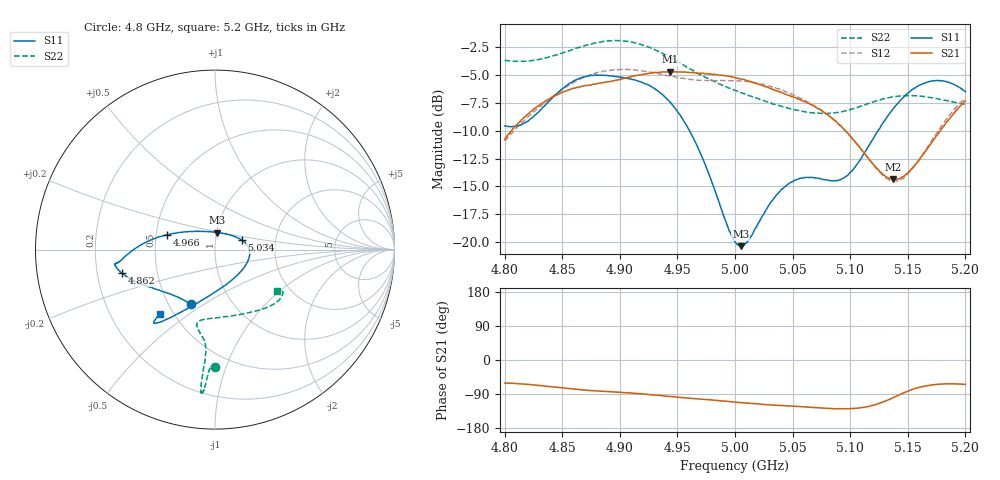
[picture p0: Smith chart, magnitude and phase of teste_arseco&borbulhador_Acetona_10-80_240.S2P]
! Network Analyzer HP8722D
! Hewlett-Packard
! Data name: Linha & Wilkinson
! Saver's name: Rodrigo Anjos
! Comments: Teste da utilização de aquisição
! continua pelo VNA HP8722D
! Time and date: 17/4/2025 16:21
!  Frequency  S11  S21  S12  S22
# HZ  S  MA R 50
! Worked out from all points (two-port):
!   401 points, 4.8 GHz to 5.2 GHz, reference 50 ohm
!   highest |S21| = -4.68 dB at 4.944 GHz (marker M1); lowest = -14.4 dB at 5.137 GHz (marker M2)
!   |S21| within 3 dB of the highest: 4.83 GHz to 5.067 GHz (236.1 MHz wide, 4.77 % of centre); 5.196437 GHz to end of sweep
!   lowest |S11| = -20.4 dB at 5.005 GHz (marker M3), VSWR 1.21, Z = 50.2 + j9.65 ohm
!   |S11| at or under -10 dB: 4.961 GHz to 5.124 GHz (163.5 MHz wide, 3.24 % of centre)
!   |S22| runs from -8.5 to -1.9 dB; largest |S21 - S12| = 0.88
!   S11 on the Smith chart (normalised r, x): 4.8 GHz: 0.65, -0.44; 4.862 GHz: 0.31, -0.11; 4.966 GHz: 0.57, +0.10; 5.034 GHz: 1.34, +0.15; 5.2 GHz: 0.42, -0.39
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4.8e9  0.3329 -113.4  0.2898 -60.7  0.2843 -175.0  0.6565 -90.1
4.819e9  0.347 -133.3  0.3712 -64.0  0.3602 -173.7  0.6498 -91.7
4.862e9  0.5358 -165.9  0.4947 -77.2  0.5287 -176.9  0.7431 -93.9
4.867e9  0.5481 -167.8  0.5018 -78.7  0.5436 -177.9  0.7557 -93.9
4.9e9  0.5513 -172.2  0.5373 -85.2  0.5958 175.6  0.803 -95.4
4.934e9  0.4739 -178.2  0.5783 -93.4  0.5705 171.7  0.7157 -95.8
4.944e9  0.4238 177.2  0.5835 -96.2  0.5558 171.8  0.6753 -95.6
4.966e9  0.2783 162.7  0.5753 -102.0  0.535 173.8  0.5809 -95.1
5e9  0.1003 101.1  0.5478 -111.1  0.5298 176.2  0.4806 -99.2
5.005e9  0.0959 83.1  0.5398 -112.5  0.5289 176.2  0.4689 -100.3
5.013e9  0.1041 57.3  0.5271 -114.5  0.5221 175.9  0.4534 -101.9
5.034e9  0.1578 20.3  0.4812 -119.4  0.4931 174.7  0.4164 -103.4
5.05e9  0.187 3.9  0.4495 -121.8  0.4598 174.2  0.3945 -99.4
5.067e9  0.1953 -14.3  0.412 -125.1  0.4155 173.7  0.3809 -90.5
5.087e9  0.1886 -46.4  0.3508 -128.6  0.3497 173.8  0.3809 -75.4
5.097e9  0.198 -66.8  0.3114 -128.8  0.3118 174.7  0.3896 -67.2
5.134e9  0.3767 -116.6  0.1937 -103.9  0.19 -156.7  0.4461 -43.0
5.137e9  0.3951 -118.4  0.1911 -99.8  0.1884 -152.1  0.4495 -41.6
5.151e9  0.4707 -124.6  0.2072 -81.0  0.2049 -130.5  0.4551 -36.4
5.17e9  0.5282 -128.9  0.2764 -66.2  0.2816 -112.4  0.4462 -32.0
5.184e9  0.5245 -130.3  0.3475 -63.0  0.3588 -107.2  0.432 -31.0
5.2e9  0.4735 -130.6  0.4314 -64.5  0.444 -106.5  0.4151 -33.4
